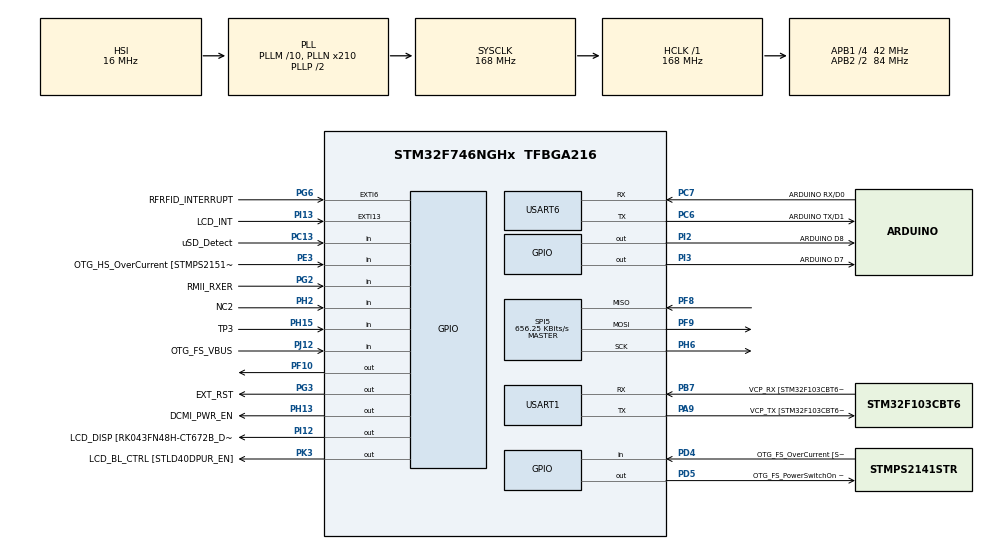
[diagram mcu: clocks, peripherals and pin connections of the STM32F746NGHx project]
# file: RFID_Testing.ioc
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Mcu.Family=STM32F7
Mcu.Name=STM32F746NGHx
Mcu.Package=TFBGA216
NVIC.PriorityGroup=NVIC_PRIORITYGROUP_4
PA0/WKUP.GPIO_Label=ARDUINO A0
PA0/WKUP.GPIO_Mode=GPIO_MODE_ANALOG
PA0/WKUP.GPIO_PuPd=GPIO_NOPULL
PA0/WKUP.Signal=ADCx_IN0
PA0/WKUP.Stacked=true
PA1.GPIO_Label=RMII_REF_CLK [LAN8742A-CZ-TR_REFCLK0]
PA1.Signal=ETH_REF_CLK
PA10.GPIO_Label=OTG_FS_ID
PA10.Signal=USB_OTG_FS_ID
PA13.GPIO_Label=SWDIO
PA13.Signal=SYS_JTMS-SWDIO
PA14.GPIO_Label=SWCLK
PA14.Signal=SYS_JTCK-SWCLK
PA15.GPIO_Label=ARDUINO PWM/D9
PA15.GPIO_ModeDefaultPP=GPIO_MODE_AF_PP
PA15.GPIO_PuPd=GPIO_NOPULL
PA15.GPIO_Speed=GPIO_SPEED_FREQ_LOW
PA15.Signal=S_TIM2_CH1_ETR
PA2.GPIO_Label=RMII_MDIO [LAN8742A-CZ-TR_MDIO]
PA2.Signal=ETH_MDIO
PA3.GPIO_Label=ULPI_D0 [USB3320C-EZK_D0]
PA3.Signal=USB_OTG_HS_ULPI_D0
PA4.GPIO_Label=DCMI_HSYNC
PA4.Signal=DCMI_HSYNC
PA5.GPIO_Label=ULPI_CLK [USB3320C-EZK_CLKOUT]
PA5.Signal=USB_OTG_HS_ULPI_CK
PA6.Signal=DCMI_PIXCLK
PA7.GPIO_Label=RMII_CRS_DV [LAN8742A-CZ-TR_CRS_DV]
PA7.Signal=ETH_CRS_DV
PA9.GPIO_Label=VCP_TX [STM32F103CBT6_PA3]
PA9.GPIO_Mode=GPIO_MODE_AF_PP
PA9.GPIO_PuPd=GPIO_NOPULL
PA9.GPIO_Speed=GPIO_SPEED_FREQ_LOW
PA9.Mode=Asynchronous
PA9.Signal=USART1_TX
PB0.GPIO_Label=ULPI_D1 [USB3320C-EZK_D1]
PB0.Signal=USB_OTG_HS_ULPI_D1
PB1.GPIO_Label=ULPI_D2 [USB3320C-EZK_D2]
PB1.Signal=USB_OTG_HS_ULPI_D2
PB10.GPIO_Label=ULPI_D3 [USB3320C-EZK_D3]
PB10.Signal=USB_OTG_HS_ULPI_D3
PB11.GPIO_Label=ULPI_D4 [USB3320C-EZK_D4]
PB11.Signal=USB_OTG_HS_ULPI_D4
PB12.GPIO_Label=ULPI_D5 [USB3320C-EZK_D5]
PB12.Signal=USB_OTG_HS_ULPI_D5
PB13.GPIO_Label=ULPI_D6 [USB3320C-EZK_D6]
PB13.Signal=USB_OTG_HS_ULPI_D6
PB14.GPIO_Label=ARDUINO MISO/D12
PB14.GPIO_Mode=GPIO_MODE_AF_PP
PB14.GPIO_PuPd=GPIO_NOPULL
PB14.GPIO_Speed=GPIO_SPEED_FREQ_LOW
PB14.Signal=SPI2_MISO
PB15.GPIO_Label=ARDUINO MOSI/PWM/D11
PB15.GPIO_Mode=GPIO_MODE_AF_PP
PB15.GPIO_PuPd=GPIO_NOPULL
PB15.GPIO_Speed=GPIO_SPEED_FREQ_LOW
PB15.Signal=SPI2_MOSI
PB2.Signal=QUADSPI_CLK
PB3.GPIO_Label=SWO
PB3.Signal=SYS_JTDO-SWO
PB4.GPIO_Label=ARDUINO PWM/D3
PB4.GPIO_ModeDefaultPP=GPIO_MODE_AF_PP
PB4.GPIO_PuPd=GPIO_NOPULL
PB4.GPIO_Speed=GPIO_SPEED_FREQ_LOW
PB4.Signal=S_TIM3_CH1
PB5.GPIO_Label=ULPI_D7 [USB3320C-EZK_D7]
PB5.Signal=USB_OTG_HS_ULPI_D7
PB6.GPIO_Label=QSPI_NCS [N25Q128A13EF840E_S]
PB6.Signal=QUADSPI_BK1_NCS
PB7.GPIO_Label=VCP_RX [STM32F103CBT6_PA2]
PB7.GPIO_Mode=GPIO_MODE_AF_PP
PB7.GPIO_PuPd=GPIO_NOPULL
PB7.GPIO_Speed=GPIO_SPEED_FREQ_LOW
PB7.Mode=Asynchronous
PB7.Signal=USART1_RX
PB8.GPIO_Label=ARDUINO SCL/D15
PB8.GPIO_Mode=GPIO_MODE_AF_OD
PB8.GPIO_PuPd=GPIO_NOPULL
PB8.GPIO_Speed=GPIO_SPEED_FREQ_LOW
PB8.Signal=I2C1_SCL
PB9.GPIO_Label=ARDUINO SDA/D14
PB9.GPIO_Mode=GPIO_MODE_AF_OD
PB9.GPIO_PuPd=GPIO_NOPULL
PB9.GPIO_Speed=GPIO_SPEED_FREQ_LOW
PB9.Signal=I2C1_SDA
PC0.GPIO_Label=ULPI_STP [USB3320C-EZK_STP]
PC0.Signal=USB_OTG_HS_ULPI_STP
PC1.GPIO_Label=RMII_MDC [LAN8742A-CZ-TR_MDC]
PC1.Signal=ETH_MDC
PC10.GPIO_Label=SDMMC_D2
PC10.Signal=SDMMC1_D2
PC11.GPIO_Label=SDMMC_D3
PC11.Signal=SDMMC1_D3
PC12.GPIO_Label=SDMMC_CK
PC12.Signal=SDMMC1_CK
PC13.GPIO_Label=uSD_Detect
PC13.Signal=GPIO_Input
PC14/OSC32_IN.GPIO_Label=RCC_OSC32_IN
PC14/OSC32_IN.Signal=RCC_OSC32_IN
PC15/OSC32_OUT.GPIO_Label=RCC_OSC32_OUT
PC15/OSC32_OUT.Signal=RCC_OSC32_OUT
PC2.GPIO_Label=ULPI_DIR [USB3320C-EZK_DIR]
PC2.Signal=USB_OTG_HS_ULPI_DIR
PC3.GPIO_Label=FMC_SDCKE0 [MT48LC4M32B2B5-6A_CKE]
PC3.Signal=FMC_SDCKE0
PC4.GPIO_Label=RMII_RXD0 [LAN8742A-CZ-TR_RXD0]
PC4.Signal=ETH_RXD0
PC5.GPIO_Label=RMII_RXD1 [LAN8742A-CZ-TR_RXD1]
PC5.Signal=ETH_RXD1
PC6.GPIO_Label=ARDUINO TX/D1
PC6.Mode=Asynchronous
PC6.Signal=USART6_TX
PC7.GPIO_Label=ARDUINO RX/D0
PC7.Mode=Asynchronous
PC7.Signal=USART6_RX
PC8.Signal=SDMMC1_D0
PC9.Signal=SDMMC1_D1
PD0.GPIO_Label=FMC_D2 [MT48LC4M32B2B5-6A_DQ2]
PD0.Signal=FMC_D2_DA2
PD1.GPIO_Label=FMC_D3 [MT48LC4M32B2B5-6A_DQ3]
PD1.Signal=FMC_D3_DA3
PD10.GPIO_Label=FMC_D15 [MT48LC4M32B2B5-6A_DQ15]
PD10.Signal=FMC_D15_DA15
PD11.GPIO_Label=QSPI_D0 [N25Q128A13EF840E_DQ0]
PD11.Signal=QUADSPI_BK1_IO0
PD12.GPIO_Label=QSPI_D1 [N25Q128A13EF840E_DQ1]
PD12.Signal=QUADSPI_BK1_IO1
PD13.GPIO_Label=QSPI_D3 [N25Q128A13EF840E_DQ3]
PD13.Signal=QUADSPI_BK1_IO3
PD14.GPIO_Label=FMC_D0 [MT48LC4M32B2B5-6A_DQ0]
PD14.Signal=FMC_D0_DA0
PD15.GPIO_Label=FMC_D1 [MT48LC4M32B2B5-6A_DQ1]
PD15.Signal=FMC_D1_DA1
PD2.GPIO_Label=SDMMC_D0
PD2.Signal=SDMMC1_CMD
PD3.GPIO_Label=DCMI_D5
PD3.Signal=DCMI_D5
PD4.GPIO_Label=OTG_FS_OverCurrent [STMPS2141STR_Fault]
PD4.Signal=GPIO_Input
PD5.GPIO_Label=OTG_FS_PowerSwitchOn [STMPS2141STR_EN]
PD5.PinState=GPIO_PIN_SET
PD5.Signal=GPIO_Output
PD7.GPIO_Label=SPDIF_RX0 [74LVC1G04SE_4]
PD7.Signal=SPDIFRX_IN0
PD8.GPIO_Label=FMC_D13 [MT48LC4M32B2B5-6A_DQ13]
PD8.Signal=FMC_D13_DA13
PD9.GPIO_Label=FMC_D14 [MT48LC4M32B2B5-6A_DQ14]
PD9.Signal=FMC_D14_DA14
PE0.GPIO_Label=FMC_NBL0 [MT48LC4M32B2B5-6A_DQM0]
PE0.Signal=FMC_NBL0
PE1.GPIO_Label=FMC_NBL1 [MT48LC4M32B2B5-6A_DQM1]
PE1.Signal=FMC_NBL1
PE10.GPIO_Label=FMC_D7 [MT48LC4M32B2B5-6A_DQ7]
PE10.Signal=FMC_D7_DA7
PE11.GPIO_Label=FMC_D8 [MT48LC4M32B2B5-6A_DQ8]
PE11.Signal=FMC_D8_DA8
PE12.GPIO_Label=FMC_D9 [MT48LC4M32B2B5-6A_DQ9]
PE12.Signal=FMC_D9_DA9
PE13.GPIO_Label=FMC_D10 [MT48LC4M32B2B5-6A_DQ10]
PE13.Signal=FMC_D10_DA10
PE14.GPIO_Label=FMC_D11 [MT48LC4M32B2B5-6A_DQ11]
PE14.Signal=FMC_D11_DA11
PE15.GPIO_Label=FMC_D12 [MT48LC4M32B2B5-6A_DQ12]
PE15.Signal=FMC_D12_DA12
PE2.GPIO_Label=QSPI_D2 [N25Q128A13EF840E_DQ2]
PE2.Signal=QUADSPI_BK1_IO2
PE3.GPIO_Label=OTG_HS_OverCurrent [STMPS2151STR_FAULT]
PE3.Signal=GPIO_Input
PE4.GPIO_Label=LCD_B0 [RK043FN48H-CT672B_B0]
PE4.Signal=LTDC_B0
PE5.GPIO_Label=DCMI_D6
PE5.Signal=DCMI_D6
PE6.GPIO_Label=DCMI_D7
PE6.Signal=DCMI_D7
PE7.GPIO_Label=FMC_D4 [MT48LC4M32B2B5-6A_DQ4]
PE7.Signal=FMC_D4_DA4
PE8.GPIO_Label=FMC_D5 [MT48LC4M32B2B5-6A_DQ5]
PE8.Signal=FMC_D5_DA5
PE9.GPIO_Label=FMC_D6 [MT48LC4M32B2B5-6A_DQ6]
PE9.Signal=FMC_D6_DA6
PF0.GPIO_Label=FMC_A0 [MT48LC4M32B2B5-6A_A0]
PF0.Signal=FMC_A0
PF1.GPIO_Label=FMC_A1 [MT48LC4M32B2B5-6A_A1]
PF1.Signal=FMC_A1
PF10.GPIO_PuPd=GPIO_PULLUP
PF10.GPIO_Speed=GPIO_SPEED_FREQ_MEDIUM
PF10.PinState=GPIO_PIN_SET
PF10.Signal=GPIO_Output
PF11.GPIO_Label=FMC_SDNRAS [MT48LC4M32B2B5-6A_RAS]
PF11.Signal=FMC_SDNRAS
PF12.GPIO_Label=FMC_A6 [MT48LC4M32B2B5-6A_A6]
PF12.Signal=FMC_A6
PF13.GPIO_Label=FMC_A7 [MT48LC4M32B2B5-6A_A7]
PF13.Signal=FMC_A7
PF14.GPIO_Label=FMC_A8 [MT48LC4M32B2B5-6A_A8]
PF14.Signal=FMC_A8
PF15.GPIO_Label=FMC_A9 [MT48LC4M32B2B5-6A_A9]
PF15.Signal=FMC_A9
PF2.GPIO_Label=FMC_A2 [MT48LC4M32B2B5-6A_A2]
PF2.Signal=FMC_A2
PF3.GPIO_Label=FMC_A3 [MT48LC4M32B2B5-6A_A3]
PF3.Signal=FMC_A3
PF4.GPIO_Label=FMC_A4 [MT48LC4M32B2B5-6A_A4]
PF4.Signal=FMC_A4
PF5.GPIO_Label=FMC_A5 [MT48LC4M32B2B5-6A_A5]
PF5.Signal=FMC_A5
PF7.GPIO_Label=ARDUINO A4
PF7.GPIO_Mode=GPIO_MODE_ANALOG
PF7.GPIO_PuPd=GPIO_NOPULL
PF7.Signal=ADC3_IN5
PF8.Mode=Full_Duplex_Master
PF8.Signal=SPI5_MISO
PF9.Mode=Full_Duplex_Master
PF9.Signal=SPI5_MOSI
PG0.GPIO_Label=FMC_A10 [MT48LC4M32B2B5-6A_A10]
PG0.Signal=FMC_A10
PG1.GPIO_Label=FMC_A11 [MT48LC4M32B2B5-6A_A11]
PG1.Signal=FMC_A11
PG10.GPIO_Label=SAI2_SDB [WM8994ECS/R_ADCDAT1]
PG10.Signal=SAI2_SD_B
PG11.GPIO_Label=RMII_TX_EN [LAN8742A-CZ-TR_TXEN]
PG11.Signal=ETH_TX_EN
PG14.GPIO_Label=RMII_TXD1 [LAN8742A-CZ-TR_TXD1]
PG14.Signal=ETH_TXD1
PG15.GPIO_Label=FMC_SDNCAS [MT48LC4M32B2B5-6A_CAS]
PG15.Signal=FMC_SDNCAS
PG2.GPIO_Label=RMII_RXER
PG2.Signal=GPIO_Input
PG3.GPIO_Label=EXT_RST
PG3.Signal=GPIO_Output
PG4.GPIO_Label=FMC_BA0 [MT48LC4M32B2B5-6A_BA0]
PG4.Signal=FMC_A14_BA0
PG5.GPIO_Label=FMC_BA1 [MT48LC4M32B2B5-6A_BA1]
PG5.Signal=FMC_A15_BA1
PG6.GPIO_Label=RFRFID_INTERRUPT
PG6.GPIO_ModeDefaultEXTI=GPIO_MODE_IT_RISING
PG6.Signal=GPXTI6
PG8.GPIO_Label=FMC_SDCLK [MT48LC4M32B2B5-6A_CLK]
PG8.Signal=FMC_SDCLK
PH0/OSC_IN.GPIO_Label=OSC_25M [NZ2520SB-25.00M_OUT]
PH0/OSC_IN.Signal=RCC_OSC_IN
PH1/OSC_OUT.Signal=RCC_OSC_OUT
PH10.GPIO_Label=DCMI_D1
PH10.Signal=DCMI_D1
PH11.GPIO_Label=DCMI_D2
PH11.Signal=DCMI_D2
PH12.GPIO_Label=DCMI_D3
PH12.Signal=DCMI_D3
PH13.GPIO_Label=DCMI_PWR_EN
PH13.Signal=GPIO_Output
PH14.GPIO_Label=DCMI_D4
PH14.Signal=DCMI_D4
PH15.GPIO_Label=TP3
PH15.Signal=GPIO_Input
PH2.GPIO_Label=NC2
PH2.Signal=GPIO_Input
PH3.GPIO_Label=FMC_SDNE0 [MT48LC4M32B2B5-6A_CS]
PH3.Signal=FMC_SDNE0
PH4.GPIO_Label=ULPI_NXT [USB3320C-EZK_NXT]
PH4.Signal=USB_OTG_HS_ULPI_NXT
PH5.GPIO_Label=FMC_SDNME [MT48LC4M32B2B5-6A_WE]
PH5.Signal=FMC_SDNWE
PH6.Mode=Full_Duplex_Master
PH6.Signal=SPI5_SCK
PH7.GPIO_Label=LCD_SCL [RK043FN48H-CT672B_SCL]
PH7.Signal=I2C3_SCL
PH8.GPIO_Label=LCD_SDA [RK043FN48H-CT672B_SDA]
PH8.Signal=I2C3_SDA
PH9.GPIO_Label=DCMI_D0
PH9.Signal=DCMI_D0
PI0.GPIO_Label=ARDUINO PWM/CS/D10
PI0.GPIO_ModeDefaultPP=GPIO_MODE_AF_PP
PI0.GPIO_PuPd=GPIO_NOPULL
PI0.GPIO_Speed=GPIO_SPEED_FREQ_LOW
PI0.Signal=S_TIM5_CH4
PI1.GPIO_Label=ARDUINO SCK/D13
PI1.GPIO_Mode=GPIO_MODE_AF_PP
PI1.GPIO_PuPd=GPIO_NOPULL
PI1.GPIO_Speed=GPIO_SPEED_FREQ_LOW
PI1.Signal=SPI2_SCK
PI10.GPIO_Label=LCD_HSYNC [RK043FN48H-CT672B_HSYNC]
PI10.Signal=LTDC_HSYNC
PI12.GPIO_Label=LCD_DISP [RK043FN48H-CT672B_DISP] 
PI12.Signal=GPIO_Output
PI13.GPIO_Label=LCD_INT
PI13.GPIO_ModeDefaultEXTI=GPIO_MODE_EVT_RISING
PI13.Signal=GPXTI13
PI14.GPIO_Label=LCD_CLK [RK043FN48H-CT672B_CLK]
PI14.Signal=LTDC_CLK
PI15.GPIO_Label=LCD_R0 [RK043FN48H-CT672B_R0]
PI15.Signal=LTDC_R0
PI2.GPIO_Label=ARDUINO D8
PI2.Signal=GPIO_Output
PI3.GPIO_Label=ARDUINO D7
PI3.Signal=GPIO_Output
PI4.GPIO_Label=SAI2_MCLKA [WM8994ECS/R_MCLK1]
PI4.Signal=SAI2_MCLK_A
PI5.GPIO_Label=SAI2_SCKA [WM8994ECS/R_BCLK1]
PI5.Signal=SAI2_SCK_A
PI6.GPIO_Label=SAI2_SDA [WM8994ECS/R_DACDAT1]
PI6.Signal=SAI2_SD_A
PI7.GPIO_Label=SAI2_FSA [WM8994ECS/R_LRCLK1]
PI7.Signal=SAI2_FS_A
PI8.GPIO_Label=NC1 [TP2]
PI8.Signal=RTC_TS
PI9.GPIO_Label=LCD_VSYNC [RK043FN48H-CT672B_VSYNC]
PI9.Signal=LTDC_VSYNC
PJ0.GPIO_Label=LCD_R1 [RK043FN48H-CT672B_R1]
PJ0.Signal=LTDC_R1
PJ1.GPIO_Label=LCD_R2 [RK043FN48H-CT672B_R2]
PJ1.Signal=LTDC_R2
PJ10.GPIO_Label=LCD_G3 [RK043FN48H-CT672B_G3]
PJ10.Signal=LTDC_G3
PJ11.GPIO_Label=LCD_G4 [RK043FN48H-CT672B_G4]
PJ11.Signal=LTDC_G4
PJ12.GPIO_Label=OTG_FS_VBUS
PJ12.Signal=GPIO_Input
PJ14.GPIO_Label=LCD_B2 [RK043FN48H-CT672B_B2]
PJ14.Signal=LTDC_B2
PJ15.GPIO_Label=LCD_B3 [RK043FN48H-CT672B_B3]
PJ15.Signal=LTDC_B3
PJ2.GPIO_Label=LCD_R3 [RK043FN48H-CT672B_R3]
PJ2.Signal=LTDC_R3
PJ3.GPIO_Label=LCD_R4 [RK043FN48H-CT672B_R4]
PJ3.Signal=LTDC_R4
PJ4.GPIO_Label=LCD_R5 [RK043FN48H-CT672B_R5]
PJ4.Signal=LTDC_R5
PJ5.GPIO_Label=LCD_R6 [RK043FN48H-CT672B_R6]
PJ5.Signal=LTDC_R6
PJ6.GPIO_Label=LCD_R7 [RK043FN48H-CT672B_R7]
PJ6.Signal=LTDC_R7
PJ7.GPIO_Label=LCD_G0 [RK043FN48H-CT672B_G0]
PJ7.Signal=LTDC_G0
PJ8.GPIO_Label=LCD_G1 [RK043FN48H-CT672B_G1]
PJ8.Signal=LTDC_G1
PJ9.GPIO_Label=LCD_G2 [RK043FN48H-CT672B_G2]
PJ9.Signal=LTDC_G2
PK0.GPIO_Label=LCD_G5 [RK043FN48H-CT672B_G5]
PK0.Signal=LTDC_G5
PK1.GPIO_Label=LCD_G6 [RK043FN48H-CT672B_G6]
PK1.Signal=LTDC_G6
PK2.GPIO_Label=LCD_G7 [RK043FN48H-CT672B_G7]
PK2.Signal=LTDC_G7
PK3.GPIO_Label=LCD_BL_CTRL [STLD40DPUR_EN]
PK3.Signal=GPIO_Output
PK4.GPIO_Label=LCD_B5 [RK043FN48H-CT672B_B5]
PK4.Signal=LTDC_B5
PK5.GPIO_Label=LCD_B6 [RK043FN48H-CT672B_B6]
PK5.Signal=LTDC_B6
PK6.GPIO_Label=LCD_B7 [RK043FN48H-CT672B_B7]
PK6.Signal=LTDC_B7
PK7.GPIO_Label=LCD_DE [RK043FN48H-CT672B_DE]
PK7.Signal=LTDC_DE
ProjectManager.HeapSize=0x200
ProjectManager.StackSize=0x400
ProjectManager.TargetToolchain=SW4STM32
RCC.AHBFreq_Value=168000000
RCC.APB1CLKDivider=RCC_HCLK_DIV4
RCC.APB1Freq_Value=42000000
RCC.APB1TimFreq_Value=84000000
RCC.APB2CLKDivider=RCC_HCLK_DIV2
RCC.APB2Freq_Value=84000000
RCC.APB2TimFreq_Value=168000000
RCC.CortexFreq_Value=168000000
RCC.HCLKFreq_Value=168000000
RCC.HSE_VALUE=25000000
RCC.HSI_VALUE=16000000
RCC.LSE_VALUE=32768
RCC.PLLM=10
RCC.PLLN=210
RCC.PLLSourceVirtual=RCC_PLLSOURCE_HSI
RCC.SYSCLKFreq_VALUE=168000000
RCC.SYSCLKSource=RCC_SYSCLKSOURCE_PLLCLK
RCC.USBFreq_Value=168000000
RCC.VCOOutputFreq_Value=336000000
SH.ADCx_IN0.0=ADC3_IN0
SH.FMC_A0.0=FMC_A0
SH.FMC_A1.0=FMC_A1
SH.FMC_A10.0=FMC_A10
SH.FMC_A11.0=FMC_A11
SH.FMC_A14_BA0.0=FMC_BA0
SH.FMC_A15_BA1.0=FMC_BA1
SH.FMC_A2.0=FMC_A2
SH.FMC_A3.0=FMC_A3
SH.FMC_A4.0=FMC_A4
SH.FMC_A5.0=FMC_A5
SH.FMC_A6.0=FMC_A6
SH.FMC_A7.0=FMC_A7
SH.FMC_A8.0=FMC_A8
SH.FMC_A9.0=FMC_A9
SH.FMC_D0_DA0.0=FMC_D0
SH.FMC_D10_DA10.0=FMC_D10
SH.FMC_D11_DA11.0=FMC_D11
SH.FMC_D12_DA12.0=FMC_D12
SH.FMC_D13_DA13.0=FMC_D13
SH.FMC_D14_DA14.0=FMC_D14
SH.FMC_D15_DA15.0=FMC_D15
SH.FMC_D1_DA1.0=FMC_D1
SH.FMC_D2_DA2.0=FMC_D2
SH.FMC_D3_DA3.0=FMC_D3
SH.FMC_D4_DA4.0=FMC_D4
SH.FMC_D5_DA5.0=FMC_D5
SH.FMC_D6_DA6.0=FMC_D6
SH.FMC_D7_DA7.0=FMC_D7
SH.FMC_D8_DA8.0=FMC_D8
SH.FMC_D9_DA9.0=FMC_D9
SH.FMC_NBL0.0=FMC_NBL0
SH.FMC_NBL1.0=FMC_NBL1
SH.FMC_SDCLK.0=FMC_SDCLK
SH.FMC_SDNCAS.0=FMC_SDNCAS
SH.FMC_SDNRAS.0=FMC_SDNRAS
SH.FMC_SDNWE.0=FMC_SDNWE
SH.S_TIM2_CH1_ETR.0=TIM2_CH1
SH.S_TIM3_CH1.0=TIM3_CH1
SH.S_TIM5_CH4.0=TIM5_CH4
SPI5.BaudRatePrescaler=SPI_BAUDRATEPRESCALER_128
SPI5.CLKPhase=SPI_PHASE_2EDGE
SPI5.CalculateBaudRate=656.25 KBits/s
SPI5.DataSize=SPI_DATASIZE_8BIT
SPI5.Direction=SPI_DIRECTION_2LINES
SPI5.Mode=SPI_MODE_MASTER
SPI5.VirtualType=VM_MASTER
USART1.VirtualMode-Asynchronous=VM_ASYNC
USART6.VirtualMode-Asynchronous=VM_ASYNC
USART6.WordLength=WORDLENGTH_8B
board=STM32F746G-DISCO

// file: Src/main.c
/**
 ******************************************************************************
 * File Name          : main.c
 * Description        : Main program body
 ******************************************************************************
 ** This notice applies to any and all portions of this file
 * that are not between comment pairs USER CODE BEGIN and
 * USER CODE END. Other portions of this file, whether
 * inserted by the user or by software development tools
 * are owned by their respective copyright owners.
 *
 * COPYRIGHT(c) 2017 STMicroelectronics
 *
 * Redistribution and use in source and binary forms, with or without modification,
 * are permitted provided that the following conditions are met:
 *   1. Redistributions of source code must retain the above copyright notice,
 *      this list of conditions and the following disclaimer.
 *   2. Redistributions in binary form must reproduce the above copyright notice,
 *      this list of conditions and the following disclaimer in the documentation
 *      and/or other materials provided with the distribution.
 *   3. Neither the name of STMicroelectronics nor the names of its contributors
 *      may be used to endorse or promote products derived from this software
 *      without specific prior written permission.
 *
 * THIS SOFTWARE IS PROVIDED BY THE COPYRIGHT HOLDERS AND CONTRIBUTORS "AS IS"
 * AND ANY EXPRESS OR IMPLIED WARRANTIES, INCLUDING, BUT NOT LIMITED TO, THE
 * IMPLIED WARRANTIES OF MERCHANTABILITY AND FITNESS FOR A PARTICULAR PURPOSE ARE
 * DISCLAIMED. IN NO EVENT SHALL THE COPYRIGHT HOLDER OR CONTRIBUTORS BE LIABLE
 * FOR ANY DIRECT, INDIRECT, INCIDENTAL, SPECIAL, EXEMPLARY, OR CONSEQUENTIAL
 * DAMAGES (INCLUDING, BUT NOT LIMITED TO, PROCUREMENT OF SUBSTITUTE GOODS OR
 * SERVICES; LOSS OF USE, DATA, OR PROFITS; OR BUSINESS INTERRUPTION) HOWEVER
 * CAUSED AND ON ANY THEORY OF LIABILITY, WHETHER IN CONTRACT, STRICT LIABILITY,
 * OR TORT (INCLUDING NEGLIGENCE OR OTHERWISE) ARISING IN ANY WAY OUT OF THE USE
 * OF THIS SOFTWARE, EVEN IF ADVISED OF THE POSSIBILITY OF SUCH DAMAGE.
 *
 ******************************************************************************
 */

#include "main.h"
#include "stm32f7xx_hal.h"
#include "spi.h"
#include "usart.h"
#include "gpio.h"
#include  "stdio.h"
#include "stdlib.h"
#include "nfc_app.h"
#include "trf79xxa.h"

/* USER CODE BEGIN PV */
/* Private variables ---------------------------------------------------------*/

/* USER CODE END PV */

void SystemClock_Config(void);

/* USER CODE BEGIN PFP */
/* Private function prototypes -----------------------------------------------*/

/* USER CODE END PFP */

volatile int    i =0 ;
void reset_counter(void ){
	//HAL_UART_Transmit(&huart6, "intr\n\r", strlen( "intr\n\r"),100);
	i=0;
}

void log_byte_decimal(uint8_t data){
	char buf[4]={0};
	sprintf(buf , "%d" ,data );
	log_message(buf);
}

void log_message(char * buff){

	HAL_UART_Transmit(&huart6 , buff , strlen(buff) , 100);
	//HAL_UART_STATE_BUSY
	// while ( huart6.gState == HAL_UART_STATE_BUSY_TX){
	//wait to finish sending
	// }
}

void log_char( char c){
	char * buf[2];
	buf[0]=c;
	buf[1]=0;
	log_message(buf);

}

void log_byte(uint8_t ui8TxByte){
	char buf[5]={0,0};

	//log_message(&buf[0]);

	uint8_t	ui8TempVar1 = 0, ui8TempVar2 = 0;

	ui8TempVar1 = (ui8TxByte >> 4) & 0x0F;			// get high nibble
	sprintf(buf ,"%d" , ui8TempVar1 ); // convert to ASCII
	//ui8TempVar2 = UART_nibble2Ascii(ui8TempVar1);
	//UART_putChar(ui8TempVar2);						// output */

	ui8TempVar1 = ui8TxByte & 0x0F;
	sprintf(buf ,"%d" , ui8TempVar1 ); // convert to ASCII
	log_message(&buf[0]);
	//ui8TempVar2 = UART_nibble2Ascii(ui8TempVar1);		// convert to ASCII
	//UART_putChar(ui8TempVar2);
}

void test_NFRFID_SPI_Communication(void){

	char buf[100]={0};
	uint8_t reg_address[]={0x12,0x13};
	uint8_t reg_wrote[] ={0xF0, 0X0F};
	uint8_t reg_read[]={0,0};

	int i =0;
	for(i=0;i<2;i++){

		//write
		TRF79xxA_writeRegister(reg_address[i],reg_wrote[i] );

		//read
		reg_read[i]=TRF79xxA_readRegister(reg_address[i]);

		//build string
		buf[0]=0;
		sprintf(buf , "register:%x, wrote:%x, read:%x , \n\r" , reg_address[i] , reg_wrote[i] , reg_read[i]);

		//print string
		log_message(buf);

	}

	//void TRF79xxA_writeRegister(uint8_t ui8TrfRegister, uint8_t ui8Value);
	//extern uint8_t TRF79xxA_readRegister(uint8_t ui8TrfRegister);

}

int main(void)
{

	/* MCU Configuration----------------------------------------------------------*/

	/* Reset of all peripherals, Initializes the Flash interface and the Systick. */
	HAL_Init();

	/* Configure the system clock */
	SystemClock_Config();

	/* Initialize all configured peripherals */
	MX_GPIO_Init();
	MX_SPI5_Init();
	MX_USART1_UART_Init();
	MX_USART6_UART_Init();

	/* USER CODE BEGIN 2 */
	SLAVE_SELECT_LOW;
	HAL_Delay(5);
	SLAVE_SELECT_HIGH;
	// Wait until TRF system clock started
	HAL_Delay(5);

	//set the enable Pin high
	TRF_DISABLE;
	HAL_Delay(5);
	TRF_ENABLE;

	// Set up TRF initial settings
	TRF79xxA_initialSettings();
	TRF79xxA_setTrfPowerSetting(TRF79xxA_5V_HALF_POWER);
	// Initialize all enabled technology layers
	NFC_init();

	//test_NFRFID_SPI_Communication();

	/* USER CODE END 2 */

	/* Infinite loop */
	/* USER CODE BEGIN WHILE */
	HAL_UART_Transmit(&huart6, "Starting....\n\r", strlen( "Starting....\n\r"),100);
	IRQ_ON;
	while (1)
	{
		/* USER CODE END WHILE */

		/* USER CODE BEGIN 3 */
		// Poll for NFC tags
		//TRF79xxA_irqHandler();
		NFC_findTag();

		char buff[30]={0};
		i+=1;
		sprintf(buff , "%d " , i);

		extern UART_HandleTypeDef huart6;
		HAL_Delay(2000);
		//HAL_UART_Transmit(UART_HandleTypeDef *huart, uint8_t *pData, uint16_t Size, uint32_t Timeout);
		HAL_UART_Transmit(&huart6 , buff , sizeof(buff) , 100);
		HAL_UART_Transmit(&huart6, "Hello world\n\r", strlen( "Hello world\n\r"),100);

	}
	/* USER CODE END 3 */

}

/** System Clock Configuration
 */
void SystemClock_Config(void)
{

	RCC_OscInitTypeDef RCC_OscInitStruct;
	RCC_ClkInitTypeDef RCC_ClkInitStruct;
	RCC_PeriphCLKInitTypeDef PeriphClkInitStruct;

	/**Configure the main internal regulator output voltage
	 */
	__HAL_RCC_PWR_CLK_ENABLE();

	__HAL_PWR_VOLTAGESCALING_CONFIG(PWR_REGULATOR_VOLTAGE_SCALE2);

	/**Initializes the CPU, AHB and APB busses clocks
	 */
	RCC_OscInitStruct.OscillatorType = RCC_OSCILLATORTYPE_HSI;
	RCC_OscInitStruct.HSIState = RCC_HSI_ON;
	RCC_OscInitStruct.HSICalibrationValue = 16;
	RCC_OscInitStruct.PLL.PLLState = RCC_PLL_ON;
	RCC_OscInitStruct.PLL.PLLSource = RCC_PLLSOURCE_HSI;
	RCC_OscInitStruct.PLL.PLLM = 10;
	RCC_OscInitStruct.PLL.PLLN = 210;
	RCC_OscInitStruct.PLL.PLLP = RCC_PLLP_DIV2;
	RCC_OscInitStruct.PLL.PLLQ = 2;
	if (HAL_RCC_OscConfig(&RCC_OscInitStruct) != HAL_OK)
	{
		_Error_Handler(__FILE__, __LINE__);
	}

	/**Initializes the CPU, AHB and APB busses clocks
	 */
	RCC_ClkInitStruct.ClockType = RCC_CLOCKTYPE_HCLK|RCC_CLOCKTYPE_SYSCLK
			|RCC_CLOCKTYPE_PCLK1|RCC_CLOCKTYPE_PCLK2;
	RCC_ClkInitStruct.SYSCLKSource = RCC_SYSCLKSOURCE_PLLCLK;
	RCC_ClkInitStruct.AHBCLKDivider = RCC_SYSCLK_DIV1;
	RCC_ClkInitStruct.APB1CLKDivider = RCC_HCLK_DIV4;
	RCC_ClkInitStruct.APB2CLKDivider = RCC_HCLK_DIV2;

	if (HAL_RCC_ClockConfig(&RCC_ClkInitStruct, FLASH_LATENCY_5) != HAL_OK)
	{
		_Error_Handler(__FILE__, __LINE__);
	}

	PeriphClkInitStruct.PeriphClockSelection = RCC_PERIPHCLK_USART1|RCC_PERIPHCLK_USART6;
	PeriphClkInitStruct.Usart1ClockSelection = RCC_USART1CLKSOURCE_PCLK2;
	PeriphClkInitStruct.Usart6ClockSelection = RCC_USART6CLKSOURCE_PCLK2;
	if (HAL_RCCEx_PeriphCLKConfig(&PeriphClkInitStruct) != HAL_OK)
	{
		_Error_Handler(__FILE__, __LINE__);
	}

	/**Configure the Systick interrupt time
	 */
	HAL_SYSTICK_Config(HAL_RCC_GetHCLKFreq()/1000);

	/**Configure the Systick
	 */
	HAL_SYSTICK_CLKSourceConfig(SYSTICK_CLKSOURCE_HCLK);

	/* SysTick_IRQn interrupt configuration */
	HAL_NVIC_SetPriority(SysTick_IRQn, 1, 0);
}

void _Error_Handler(char * file, int line)
{
	while(1)
	{
	}
}

/************************ (C) COPYRIGHT STMicroelectronics *****END OF FILE****/
